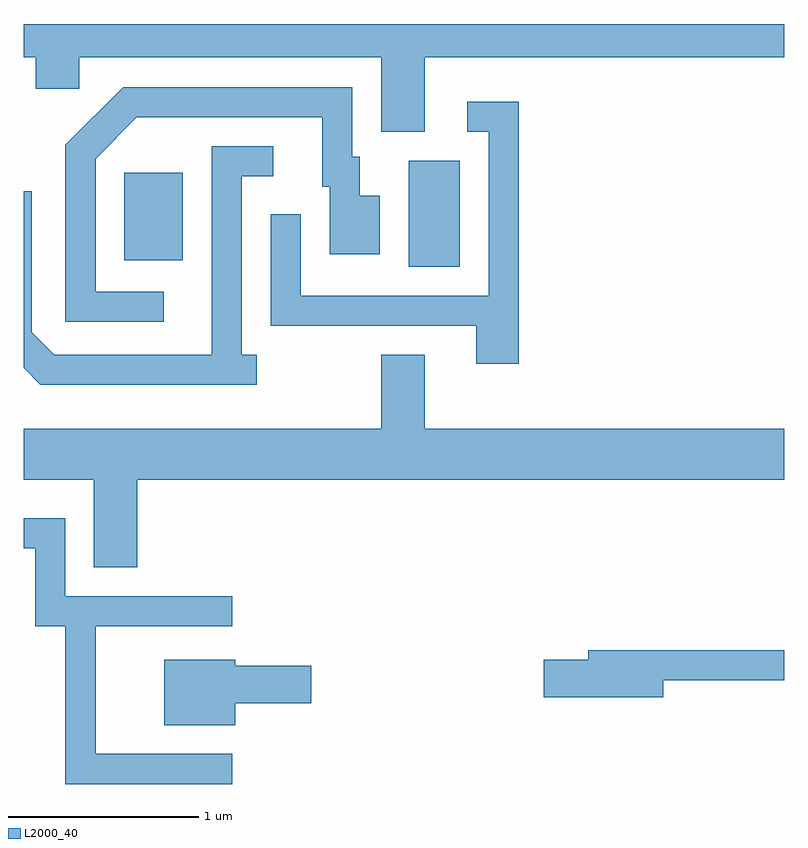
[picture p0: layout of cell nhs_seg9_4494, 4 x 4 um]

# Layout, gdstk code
import gdstk
lib = gdstk.Library(unit=1e-6, precision=1e-09)
def R(c, l, rs):  # rectangles x0, y0, x1, y1
    for r in rs: c.add(gdstk.rectangle(r[:2], r[2:], *l))
def P(c, l, *ps):  # polygons
    for p in ps: c.add(gdstk.Polygon(p, *l))
L2000_40 = (2000, 40)

nhs_seg9_4494 = lib.new_cell('nhs_seg9_4494')
R(nhs_seg9_4494, L2000_40, [(319.636,1995.156,319.904,1995.714), (318.141,1995.191,318.449,1995.649)])
P(nhs_seg9_4494, L2000_40, [(319.719,1996.256),(321.611,1996.256),(321.611,1996.432),(317.611,1996.432),(317.611,1996.256),(317.676,1996.256),(317.676,1996.091),(317.904,1996.091),(317.904,1996.256),(319.491,1996.256),(319.491,1995.866),(319.719,1995.866)],
  [(318.348,1995.024),(317.989,1995.024),(317.989,1995.724),(318.207,1995.941),(319.181,1995.941),(319.181,1995.576),(319.221,1995.576),(319.221,1995.221),(319.484,1995.221),(319.484,1995.529),(319.379,1995.529),(319.379,1995.734),(319.339,1995.734),(319.339,1996.099),(318.134,1996.099),(317.831,1995.797),(317.831,1994.866),(318.348,1994.866)],
  [(320.214,1996.024),(319.943,1996.024),(319.943,1995.866),(320.056,1995.866),(320.056,1995.004),(319.069,1995.004),(319.069,1995.433),(318.911,1995.433),(318.911,1994.846),(319.991,1994.846),(319.991,1994.646),(320.214,1994.646)],
  [(318.838,1994.694),(318.759,1994.694),(318.759,1995.631),(318.923,1995.631),(318.923,1995.789),(318.601,1995.789),(318.601,1994.694),(317.772,1994.694),(317.654,1994.812),(317.654,1995.553),(317.611,1995.553),(317.611,1994.624),(317.699,1994.536),(318.838,1994.536)],
  [(318.209,1994.036),(321.611,1994.036),(321.611,1994.304),(319.719,1994.304),(319.719,1994.694),(319.491,1994.694),(319.491,1994.304),(317.611,1994.304),(317.611,1994.036),(317.981,1994.036),(317.981,1993.576),(318.209,1993.576)],
  [(318.708,1992.594),(317.989,1992.594),(317.989,1993.266),(318.708,1993.266),(318.708,1993.424),(317.829,1993.424),(317.829,1993.834),(317.611,1993.834),(317.611,1993.676),(317.671,1993.676),(317.671,1993.266),(317.831,1993.266),(317.831,1992.436),(318.708,1992.436)],
  [(320.974,1992.981),(321.611,1992.981),(321.611,1993.139),(320.581,1993.139),(320.581,1993.089),(320.346,1993.089),(320.346,1992.891),(320.974,1992.891)],
  [(318.724,1992.861),(319.124,1992.861),(319.124,1993.059),(318.724,1993.059),(318.724,1993.089),(318.351,1993.089),(318.351,1992.746),(318.724,1992.746)])

lib.write_gds('nhs_seg9_4494.gds')
